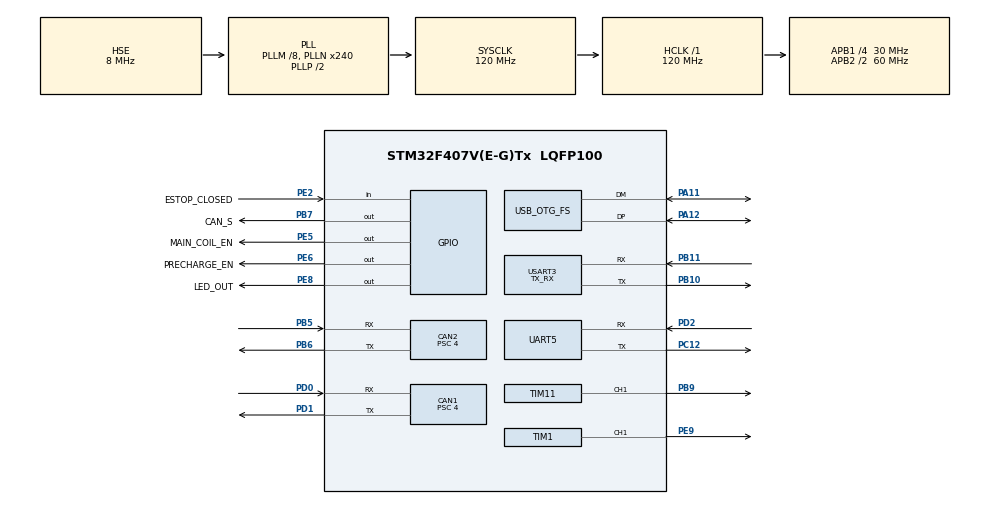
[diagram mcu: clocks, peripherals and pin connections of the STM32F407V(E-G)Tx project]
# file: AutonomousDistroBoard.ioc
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CAN1.BS1=CAN_BS1_12TQ
CAN1.BS2=CAN_BS2_2TQ
CAN1.CalculateBaudRate=499999
CAN1.CalculateTimeBit=2000
CAN1.CalculateTimeQuantum=133.33333333333334
CAN1.Mode=CAN_MODE_NORMAL
CAN1.Prescaler=4
CAN2.ABOM=ENABLE
CAN2.AWUM=ENABLE
CAN2.BS1=CAN_BS1_12TQ
CAN2.BS2=CAN_BS2_2TQ
CAN2.CalculateBaudRate=499999
CAN2.CalculateTimeBit=2000
CAN2.CalculateTimeQuantum=133.33333333333334
CAN2.NART=ENABLE
CAN2.Prescaler=4
Dma.Request0=USART3_RX
Dma.USART3_RX.0.Direction=DMA_PERIPH_TO_MEMORY
Dma.USART3_RX.0.FIFOMode=DMA_FIFOMODE_DISABLE
Dma.USART3_RX.0.Instance=DMA1_Stream1
Dma.USART3_RX.0.MemDataAlignment=DMA_MDATAALIGN_BYTE
Dma.USART3_RX.0.MemInc=DMA_MINC_ENABLE
Dma.USART3_RX.0.Mode=DMA_CIRCULAR
Dma.USART3_RX.0.PeriphDataAlignment=DMA_PDATAALIGN_BYTE
Dma.USART3_RX.0.PeriphInc=DMA_PINC_DISABLE
Dma.USART3_RX.0.Priority=DMA_PRIORITY_HIGH
Mcu.Family=STM32F4
Mcu.Name=STM32F407V(E-G)Tx
Mcu.Package=LQFP100
NVIC.CAN2_RX0_IRQn=true\:0\:0\:false\:false\:true\:true\:true\:true
NVIC.DMA1_Stream1_IRQn=true\:0\:0\:false\:false\:true\:false\:true\:true
NVIC.PriorityGroup=NVIC_PRIORITYGROUP_4
PA11.Mode=Device_Only
PA11.Signal=USB_OTG_FS_DM
PA12.Mode=Device_Only
PA12.Signal=USB_OTG_FS_DP
PA13.Mode=Serial_Wire
PA13.Signal=SYS_JTMS-SWDIO
PA14.Mode=Serial_Wire
PA14.Signal=SYS_JTCK-SWCLK
PB10.Mode=Asynchronous
PB10.Signal=USART3_TX
PB11.Mode=Asynchronous
PB11.Signal=USART3_RX
PB5.Mode=CAN_Activate
PB5.Signal=CAN2_RX
PB6.Mode=CAN_Activate
PB6.Signal=CAN2_TX
PB7.GPIO_Label=CAN_S
PB7.Signal=GPIO_Output
PB9.Signal=S_TIM11_CH1
PC12.Mode=Asynchronous
PC12.Signal=UART5_TX
PD0.Mode=CAN_Activate
PD0.Signal=CAN1_RX
PD1.Mode=CAN_Activate
PD1.Signal=CAN1_TX
PD2.Mode=Asynchronous
PD2.Signal=UART5_RX
PE2.GPIO_Label=ESTOP_CLOSED
PE2.Signal=GPIO_Input
PE5.GPIO_Label=MAIN_COIL_EN
PE5.Signal=GPIO_Output
PE6.GPIO_Label=PRECHARGE_EN
PE6.Signal=GPIO_Output
PE8.GPIO_Label=LED_OUT
PE8.Signal=GPIO_Output
PE9.Signal=S_TIM1_CH1
PH0-OSC_IN.Mode=HSE-External-Oscillator
PH0-OSC_IN.Signal=RCC_OSC_IN
PH1-OSC_OUT.Mode=HSE-External-Oscillator
PH1-OSC_OUT.Signal=RCC_OSC_OUT
ProjectManager.HeapSize=0x200
ProjectManager.StackSize=0x400
ProjectManager.TargetToolchain=STM32CubeIDE
RCC.48MHZClocksFreq_Value=48000000
RCC.AHBFreq_Value=120000000
RCC.APB1CLKDivider=RCC_HCLK_DIV4
RCC.APB1Freq_Value=30000000
RCC.APB1TimFreq_Value=60000000
RCC.APB2CLKDivider=RCC_HCLK_DIV2
RCC.APB2Freq_Value=60000000
RCC.APB2TimFreq_Value=120000000
RCC.CortexFreq_Value=120000000
RCC.HCLKFreq_Value=120000000
RCC.HSE_VALUE=8000000
RCC.HSI_VALUE=16000000
RCC.LSE_VALUE=32768
RCC.PLLM=8
RCC.PLLN=240
RCC.PLLQ=5
RCC.SYSCLKFreq_VALUE=120000000
RCC.SYSCLKSource=RCC_SYSCLKSOURCE_PLLCLK
RCC.VCOOutputFreq_Value=240000000
SH.S_TIM11_CH1.0=TIM11_CH1,PWM Generation1 CH1
SH.S_TIM1_CH1.0=TIM1_CH1,PWM Generation1 CH1
TIM1.Channel-PWM\ Generation1\ CH1=TIM_CHANNEL_1
TIM1.OCIdleState_1=TIM_OCIDLESTATE_RESET
TIM1.Period=19999
TIM1.Prescaler=119
TIM1.Pulse-PWM\ Generation1\ CH1=1500
TIM11.Channel=TIM_CHANNEL_1
TIM11.Period=19999
TIM11.Prescaler=119
TIM11.Pulse=1000
UART5.VirtualMode=Asynchronous
USART3.Mode=MODE_TX_RX
USART3.VirtualMode=VM_ASYNC
USB_OTG_FS.VirtualMode=Device_Only
VP_TIM11_VS_ClockSourceINT.Mode=Enable_Timer
board=custom

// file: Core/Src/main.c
/* USER CODE BEGIN Header */
/**
  ******************************************************************************
  * @file           : main.c
  * @brief          : Main program body
  ******************************************************************************
  * @attention
  *
  * Copyright (c) 2026 STMicroelectronics.
  * All rights reserved.
  *
  * This software is licensed under terms that can be found in the LICENSE file
  * in the root directory of this software component.
  * If no LICENSE file comes with this software, it is provided AS-IS.
  *
  ******************************************************************************
  */
/* USER CODE END Header */
#include "main.h"

/* USER CODE BEGIN Includes */
#include "logic.h"
/* USER CODE END Includes */

CAN_HandleTypeDef hcan1;
CAN_HandleTypeDef hcan2;

TIM_HandleTypeDef htim1;
TIM_HandleTypeDef htim11;

UART_HandleTypeDef huart5;
UART_HandleTypeDef huart3;
DMA_HandleTypeDef hdma_usart3_rx;

PCD_HandleTypeDef hpcd_USB_OTG_FS;

/* USER CODE BEGIN PV */
logic_state_t g_logic_state = {0};
/* USER CODE END PV */

void SystemClock_Config(void);
static void MX_GPIO_Init(void);
static void MX_DMA_Init(void);
static void MX_CAN2_Init(void);
static void MX_UART5_Init(void);
static void MX_TIM1_Init(void);
static void MX_TIM11_Init(void);
static void MX_USART3_UART_Init(void);
static void MX_USB_OTG_FS_PCD_Init(void);
static void MX_CAN1_Init(void);

int main(void)
{

  /* MCU Configuration--------------------------------------------------------*/

  /* Reset of all peripherals, Initializes the Flash interface and the Systick. */
  HAL_Init();

  /* Configure the system clock */
  SystemClock_Config();

  /* Initialize all configured peripherals */
  MX_GPIO_Init();
  MX_DMA_Init();
  MX_CAN2_Init();
  MX_UART5_Init();
  MX_TIM1_Init();
  MX_TIM11_Init();
  MX_USART3_UART_Init();
  MX_USB_OTG_FS_PCD_Init();
  MX_CAN1_Init();
  /* USER CODE BEGIN 2 */
  // Initialize logic state
  logic_init(&g_logic_state);

  // CAN
  // CAN_S must be low for CAN to operate
  HAL_GPIO_WritePin(CAN_S_GPIO_Port, CAN_S_Pin, GPIO_PIN_RESET);

  // Filter
  CAN_FilterTypeDef filter = {0};
  filter.FilterBank = 14; // CAN2 uses banks 14–27 on F4
  filter.FilterMode = CAN_FILTERMODE_IDMASK;
  filter.FilterScale = CAN_FILTERSCALE_32BIT;
  // Accept all IDs (for debugging)
  filter.FilterIdHigh = 0x0000;
  filter.FilterIdLow = 0x0000;
  filter.FilterMaskIdHigh = 0x0000;
  filter.FilterMaskIdLow = 0x0000;
  filter.FilterFIFOAssignment = CAN_RX_FIFO0;
  filter.FilterActivation = ENABLE;
  filter.SlaveStartFilterBank = 14;

  if (HAL_CAN_ConfigFilter(&hcan2, &filter) != HAL_OK) {
    Error_Handler();
  }
  // Start CAN peripheral
  if (HAL_CAN_Start(&hcan1) != HAL_OK) {
    // Must start CAN1 even though we only use CAN2 because CAN2 is a slave to CAN1 on F4
    Error_Handler();
  }
  if (HAL_CAN_Start(&hcan2) != HAL_OK) {
    Error_Handler();
  }
  if (HAL_CAN_ActivateNotification(&hcan2, CAN_IT_RX_FIFO0_MSG_PENDING) != HAL_OK) {
    Error_Handler();
  }

  // Start PWM outputs
  HAL_TIM_PWM_Start(&htim11, TIM_CHANNEL_1);
  HAL_TIM_PWM_Start(&htim1, TIM_CHANNEL_1);

  // Start iBUS circular DMA reception
  HAL_UART_Receive_DMA(&huart3, g_logic_state.ibus.dma_buffer, IBUS_DMA_BUFFER_SIZE);

  /* USER CODE END 2 */

  /* Infinite loop */
  while (1)
  {

    /* USER CODE BEGIN 3 */
    logic_run(&g_logic_state, &huart3, &hcan2, &htim11, &htim1);
  }
  /* USER CODE END 3 */
}

void SystemClock_Config(void)
{
  RCC_OscInitTypeDef RCC_OscInitStruct = {0};
  RCC_ClkInitTypeDef RCC_ClkInitStruct = {0};

  /** Configure the main internal regulator output voltage
  */
  __HAL_RCC_PWR_CLK_ENABLE();
  __HAL_PWR_VOLTAGESCALING_CONFIG(PWR_REGULATOR_VOLTAGE_SCALE1);

  /** Initializes the RCC Oscillators according to the specified parameters
  * in the RCC_OscInitTypeDef structure.
  */
  RCC_OscInitStruct.OscillatorType = RCC_OSCILLATORTYPE_HSE;
  RCC_OscInitStruct.HSEState = RCC_HSE_ON;
  RCC_OscInitStruct.PLL.PLLState = RCC_PLL_ON;
  RCC_OscInitStruct.PLL.PLLSource = RCC_PLLSOURCE_HSE;
  RCC_OscInitStruct.PLL.PLLM = 8;
  RCC_OscInitStruct.PLL.PLLN = 240;
  RCC_OscInitStruct.PLL.PLLP = RCC_PLLP_DIV2;
  RCC_OscInitStruct.PLL.PLLQ = 5;
  if (HAL_RCC_OscConfig(&RCC_OscInitStruct) != HAL_OK)
  {
    Error_Handler();
  }

  /** Initializes the CPU, AHB and APB buses clocks
  */
  RCC_ClkInitStruct.ClockType = RCC_CLOCKTYPE_HCLK|RCC_CLOCKTYPE_SYSCLK
                              |RCC_CLOCKTYPE_PCLK1|RCC_CLOCKTYPE_PCLK2;
  RCC_ClkInitStruct.SYSCLKSource = RCC_SYSCLKSOURCE_PLLCLK;
  RCC_ClkInitStruct.AHBCLKDivider = RCC_SYSCLK_DIV1;
  RCC_ClkInitStruct.APB1CLKDivider = RCC_HCLK_DIV4;
  RCC_ClkInitStruct.APB2CLKDivider = RCC_HCLK_DIV2;

  if (HAL_RCC_ClockConfig(&RCC_ClkInitStruct, FLASH_LATENCY_3) != HAL_OK)
  {
    Error_Handler();
  }
}

static void MX_CAN1_Init(void)
{

  hcan1.Instance = CAN1;
  hcan1.Init.Prescaler = 4;
  hcan1.Init.Mode = CAN_MODE_NORMAL;
  hcan1.Init.SyncJumpWidth = CAN_SJW_1TQ;
  hcan1.Init.TimeSeg1 = CAN_BS1_12TQ;
  hcan1.Init.TimeSeg2 = CAN_BS2_2TQ;
  hcan1.Init.TimeTriggeredMode = DISABLE;
  hcan1.Init.AutoBusOff = DISABLE;
  hcan1.Init.AutoWakeUp = DISABLE;
  hcan1.Init.AutoRetransmission = DISABLE;
  hcan1.Init.ReceiveFifoLocked = DISABLE;
  hcan1.Init.TransmitFifoPriority = DISABLE;
  if (HAL_CAN_Init(&hcan1) != HAL_OK)
  {
    Error_Handler();
  }

}

static void MX_CAN2_Init(void)
{

  hcan2.Instance = CAN2;
  hcan2.Init.Prescaler = 4;
  hcan2.Init.Mode = CAN_MODE_NORMAL;
  hcan2.Init.SyncJumpWidth = CAN_SJW_1TQ;
  hcan2.Init.TimeSeg1 = CAN_BS1_12TQ;
  hcan2.Init.TimeSeg2 = CAN_BS2_2TQ;
  hcan2.Init.TimeTriggeredMode = DISABLE;
  hcan2.Init.AutoBusOff = ENABLE;
  hcan2.Init.AutoWakeUp = ENABLE;
  hcan2.Init.AutoRetransmission = ENABLE;
  hcan2.Init.ReceiveFifoLocked = DISABLE;
  hcan2.Init.TransmitFifoPriority = DISABLE;
  if (HAL_CAN_Init(&hcan2) != HAL_OK)
  {
    Error_Handler();
  }

}

static void MX_TIM1_Init(void)
{

  TIM_MasterConfigTypeDef sMasterConfig = {0};
  TIM_OC_InitTypeDef sConfigOC = {0};
  TIM_BreakDeadTimeConfigTypeDef sBreakDeadTimeConfig = {0};

  htim1.Instance = TIM1;
  htim1.Init.Prescaler = 119;
  htim1.Init.CounterMode = TIM_COUNTERMODE_UP;
  htim1.Init.Period = 19999;
  htim1.Init.ClockDivision = TIM_CLOCKDIVISION_DIV1;
  htim1.Init.RepetitionCounter = 0;
  htim1.Init.AutoReloadPreload = TIM_AUTORELOAD_PRELOAD_DISABLE;
  if (HAL_TIM_PWM_Init(&htim1) != HAL_OK)
  {
    Error_Handler();
  }
  sMasterConfig.MasterOutputTrigger = TIM_TRGO_RESET;
  sMasterConfig.MasterSlaveMode = TIM_MASTERSLAVEMODE_DISABLE;
  if (HAL_TIMEx_MasterConfigSynchronization(&htim1, &sMasterConfig) != HAL_OK)
  {
    Error_Handler();
  }
  sConfigOC.OCMode = TIM_OCMODE_PWM1;
  sConfigOC.Pulse = 1500;
  sConfigOC.OCPolarity = TIM_OCPOLARITY_HIGH;
  sConfigOC.OCNPolarity = TIM_OCNPOLARITY_HIGH;
  sConfigOC.OCFastMode = TIM_OCFAST_DISABLE;
  sConfigOC.OCIdleState = TIM_OCIDLESTATE_RESET;
  sConfigOC.OCNIdleState = TIM_OCNIDLESTATE_RESET;
  if (HAL_TIM_PWM_ConfigChannel(&htim1, &sConfigOC, TIM_CHANNEL_1) != HAL_OK)
  {
    Error_Handler();
  }
  sBreakDeadTimeConfig.OffStateRunMode = TIM_OSSR_DISABLE;
  sBreakDeadTimeConfig.OffStateIDLEMode = TIM_OSSI_DISABLE;
  sBreakDeadTimeConfig.LockLevel = TIM_LOCKLEVEL_OFF;
  sBreakDeadTimeConfig.DeadTime = 0;
  sBreakDeadTimeConfig.BreakState = TIM_BREAK_DISABLE;
  sBreakDeadTimeConfig.BreakPolarity = TIM_BREAKPOLARITY_HIGH;
  sBreakDeadTimeConfig.AutomaticOutput = TIM_AUTOMATICOUTPUT_DISABLE;
  if (HAL_TIMEx_ConfigBreakDeadTime(&htim1, &sBreakDeadTimeConfig) != HAL_OK)
  {
    Error_Handler();
  }
  HAL_TIM_MspPostInit(&htim1);

}

static void MX_TIM11_Init(void)
{

  TIM_OC_InitTypeDef sConfigOC = {0};

  htim11.Instance = TIM11;
  htim11.Init.Prescaler = 119;
  htim11.Init.CounterMode = TIM_COUNTERMODE_UP;
  htim11.Init.Period = 19999;
  htim11.Init.ClockDivision = TIM_CLOCKDIVISION_DIV1;
  htim11.Init.AutoReloadPreload = TIM_AUTORELOAD_PRELOAD_DISABLE;
  if (HAL_TIM_Base_Init(&htim11) != HAL_OK)
  {
    Error_Handler();
  }
  if (HAL_TIM_PWM_Init(&htim11) != HAL_OK)
  {
    Error_Handler();
  }
  sConfigOC.OCMode = TIM_OCMODE_PWM1;
  sConfigOC.Pulse = 1000;
  sConfigOC.OCPolarity = TIM_OCPOLARITY_HIGH;
  sConfigOC.OCFastMode = TIM_OCFAST_DISABLE;
  if (HAL_TIM_PWM_ConfigChannel(&htim11, &sConfigOC, TIM_CHANNEL_1) != HAL_OK)
  {
    Error_Handler();
  }
  HAL_TIM_MspPostInit(&htim11);

}

static void MX_UART5_Init(void)
{

  huart5.Instance = UART5;
  huart5.Init.BaudRate = 115200;
  huart5.Init.WordLength = UART_WORDLENGTH_8B;
  huart5.Init.StopBits = UART_STOPBITS_1;
  huart5.Init.Parity = UART_PARITY_NONE;
  huart5.Init.Mode = UART_MODE_TX_RX;
  huart5.Init.HwFlowCtl = UART_HWCONTROL_NONE;
  huart5.Init.OverSampling = UART_OVERSAMPLING_16;
  if (HAL_UART_Init(&huart5) != HAL_OK)
  {
    Error_Handler();
  }

}

static void MX_USART3_UART_Init(void)
{

  huart3.Instance = USART3;
  huart3.Init.BaudRate = 115200;
  huart3.Init.WordLength = UART_WORDLENGTH_8B;
  huart3.Init.StopBits = UART_STOPBITS_1;
  huart3.Init.Parity = UART_PARITY_NONE;
  huart3.Init.Mode = UART_MODE_TX_RX;
  huart3.Init.HwFlowCtl = UART_HWCONTROL_NONE;
  huart3.Init.OverSampling = UART_OVERSAMPLING_16;
  if (HAL_UART_Init(&huart3) != HAL_OK)
  {
    Error_Handler();
  }

}

static void MX_USB_OTG_FS_PCD_Init(void)
{

  hpcd_USB_OTG_FS.Instance = USB_OTG_FS;
  hpcd_USB_OTG_FS.Init.dev_endpoints = 4;
  hpcd_USB_OTG_FS.Init.speed = PCD_SPEED_FULL;
  hpcd_USB_OTG_FS.Init.dma_enable = DISABLE;
  hpcd_USB_OTG_FS.Init.phy_itface = PCD_PHY_EMBEDDED;
  hpcd_USB_OTG_FS.Init.Sof_enable = DISABLE;
  hpcd_USB_OTG_FS.Init.low_power_enable = DISABLE;
  hpcd_USB_OTG_FS.Init.lpm_enable = DISABLE;
  hpcd_USB_OTG_FS.Init.vbus_sensing_enable = DISABLE;
  hpcd_USB_OTG_FS.Init.use_dedicated_ep1 = DISABLE;
  if (HAL_PCD_Init(&hpcd_USB_OTG_FS) != HAL_OK)
  {
    Error_Handler();
  }

}

static void MX_DMA_Init(void)
{

  /* DMA controller clock enable */
  __HAL_RCC_DMA1_CLK_ENABLE();

  /* DMA interrupt init */
  /* DMA1_Stream1_IRQn interrupt configuration */
  HAL_NVIC_SetPriority(DMA1_Stream1_IRQn, 0, 0);
  HAL_NVIC_EnableIRQ(DMA1_Stream1_IRQn);

}

static void MX_GPIO_Init(void)
{
  GPIO_InitTypeDef GPIO_InitStruct = {0};

  /* GPIO Ports Clock Enable */
  __HAL_RCC_GPIOE_CLK_ENABLE();
  __HAL_RCC_GPIOH_CLK_ENABLE();
  __HAL_RCC_GPIOB_CLK_ENABLE();
  __HAL_RCC_GPIOA_CLK_ENABLE();
  __HAL_RCC_GPIOC_CLK_ENABLE();
  __HAL_RCC_GPIOD_CLK_ENABLE();

  /*Configure GPIO pin Output Level */
  HAL_GPIO_WritePin(GPIOE, MAIN_COIL_EN_Pin|PRECHARGE_EN_Pin|LED_OUT_Pin, GPIO_PIN_RESET);

  /*Configure GPIO pin Output Level */
  HAL_GPIO_WritePin(CAN_S_GPIO_Port, CAN_S_Pin, GPIO_PIN_RESET);

  /*Configure GPIO pin : ESTOP_CLOSED_Pin */
  GPIO_InitStruct.Pin = ESTOP_CLOSED_Pin;
  GPIO_InitStruct.Mode = GPIO_MODE_INPUT;
  GPIO_InitStruct.Pull = GPIO_NOPULL;
  HAL_GPIO_Init(ESTOP_CLOSED_GPIO_Port, &GPIO_InitStruct);

  /*Configure GPIO pins : MAIN_COIL_EN_Pin PRECHARGE_EN_Pin LED_OUT_Pin */
  GPIO_InitStruct.Pin = MAIN_COIL_EN_Pin|PRECHARGE_EN_Pin|LED_OUT_Pin;
  GPIO_InitStruct.Mode = GPIO_MODE_OUTPUT_PP;
  GPIO_InitStruct.Pull = GPIO_NOPULL;
  GPIO_InitStruct.Speed = GPIO_SPEED_FREQ_LOW;
  HAL_GPIO_Init(GPIOE, &GPIO_InitStruct);

  /*Configure GPIO pin : CAN_S_Pin */
  GPIO_InitStruct.Pin = CAN_S_Pin;
  GPIO_InitStruct.Mode = GPIO_MODE_OUTPUT_PP;
  GPIO_InitStruct.Pull = GPIO_NOPULL;
  GPIO_InitStruct.Speed = GPIO_SPEED_FREQ_LOW;
  HAL_GPIO_Init(CAN_S_GPIO_Port, &GPIO_InitStruct);

}

void Error_Handler(void)
{
  __disable_irq();
  while (1)
  {
  }
}
